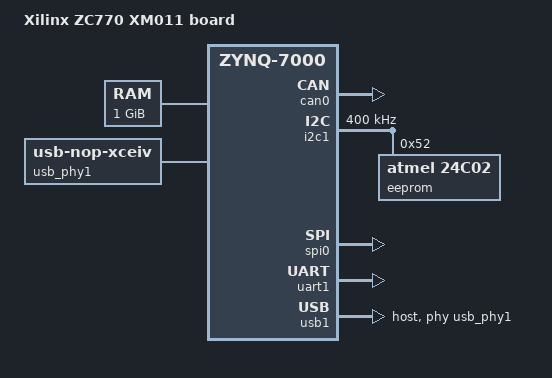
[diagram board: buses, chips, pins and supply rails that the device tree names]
// SPDX-License-Identifier: GPL-2.0+
/*
 * Xilinx ZC770 XM011 board DTS
 *
 * Copyright (C) 2013-2018 Xilinx, Inc.
 */
/dts-v1/;
#include "zynq-7000.dtsi"

/ {
	model = "Xilinx ZC770 XM011 board";
	compatible = "xlnx,zynq-zc770-xm011", "xlnx,zynq-7000";

	aliases {
		i2c0 = &i2c1;
		serial0 = &uart1;
		spi0 = &spi0;
	};

	chosen {
		bootargs = "";
		stdout-path = "serial0:115200n8";
	};

	memory@0 {
		device_type = "memory";
		reg = <0x0 0x40000000>;
	};

	usb_phy1: phy1 {
		compatible = "usb-nop-xceiv";
		#phy-cells = <0>;
	};
};

&can0 {
	status = "okay";
};

&i2c1 {
	status = "okay";
	clock-frequency = <400000>;

	eeprom: eeprom@52 {
		compatible = "atmel,24c02";
		reg = <0x52>;
	};
};

&spi0 {
	status = "okay";
	num-cs = <4>;
	is-decoded-cs = <0>;
};

&uart1 {
	status = "okay";
};

&usb1 {
	status = "okay";
	dr_mode = "host";
	usb-phy = <&usb_phy1>;
};
